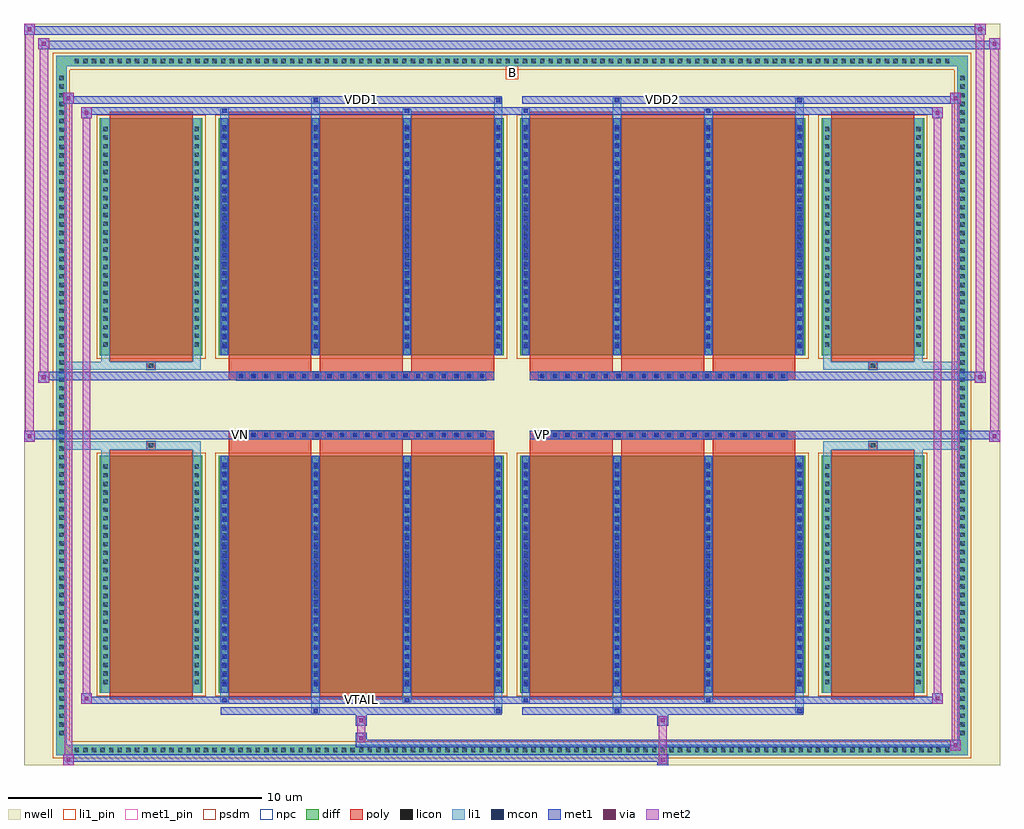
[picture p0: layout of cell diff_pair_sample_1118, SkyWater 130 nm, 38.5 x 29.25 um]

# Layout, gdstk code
import gdstk
lib = gdstk.Library(unit=1e-6, precision=5e-09)
def R(c, l, rs):  # rectangles x0, y0, x1, y1
    for r in rs: c.add(gdstk.rectangle(r[:2], r[2:], *l))
def A(c, l, x, y, w, h, nx, ny, dx, dy):  # array of equal rectangles
    R(c, l, [(x+i*dx, y+j*dy, x+i*dx+w, y+j*dy+h) for i in range(nx) for j in range(ny)])
def P(c, l, *ps):  # polygons
    for p in ps: c.add(gdstk.Polygon(p, *l))
nwell = (64, 20)
diff = (65, 20)
poly = (66, 20)
licon = (66, 44)
li1_pin = (67, 16)
li1 = (67, 20)
mcon = (67, 44)
met1_pin = (68, 16)
met1 = (68, 20)
via = (68, 44)
met2 = (69, 20)
psdm = (94, 20)
npc = (95, 20)

diff_pair_sample_1118 = lib.new_cell('diff_pair_sample_1118')
R(diff_pair_sample_1118, nwell, [(-19.25,-14.19,19.25,15.06), (-16.57,-12.38,-0.01,-0.8), (0.01,-12.38,16.57,-0.8), (-16.57,0.8,-0.01,12.38), (0.01,0.8,16.57,12.38)])
A(diff_pair_sample_1118, diff, -17.375, -13.79, 0.41, 0.41, 102, 2, 0.34, 27.17)
A(diff_pair_sample_1118, diff, -17.98, -13.125, 0.41, 0.41, 1, 77, 0, 0.34)
A(diff_pair_sample_1118, diff, 17.57, -13.125, 0.41, 0.41, 1, 77, 0, 0.34)
R(diff_pair_sample_1118, diff, [(-17.375,-13.79,17.375,-13.38), (-17.98,-13.125,-17.57,13.125), (17.57,-13.125,17.98,13.125), (-16.26,-11.335,-12.21,-1.985), (-11.57,-11.335,-0.32,-1.985), (0.32,-11.335,11.57,-1.985), (12.21,-11.335,16.26,-1.985), (-16.26,1.985,-12.21,11.335), (-11.57,1.985,-0.32,11.335), (0.32,1.985,11.57,11.335), (12.21,1.985,16.26,11.335), (-17.375,13.38,17.375,13.79)])
P(diff_pair_sample_1118, diff, [(17.98,13.79),(-17.98,13.79),(-17.98,-13.38),(-17.57,-13.38),(-17.57,13.38),(17.57,13.38),(17.57,-13.38),(-17.57,-13.38),(-17.98,-13.38),(-17.98,-13.79),(17.98,-13.79)])
A(diff_pair_sample_1118, poly, -11.18, -11.585, 3.27, 9.85, 3, 2, 3.6, 13.32)
A(diff_pair_sample_1118, poly, 0.71, -11.585, 3.27, 9.85, 3, 2, 3.6, 13.32)
A(diff_pair_sample_1118, poly, -11.18, -1.735, 3.27, 0.405, 3, 2, 3.6, 3.065)
A(diff_pair_sample_1118, poly, 0.71, -1.735, 3.27, 0.405, 3, 2, 3.6, 3.065)
A(diff_pair_sample_1118, poly, -10.86, -1.33, 0.33, 0.33, 20, 2, 0.5, 2.33)
A(diff_pair_sample_1118, poly, 1.03, -1.33, 0.33, 0.33, 20, 2, 0.5, 2.33)
R(diff_pair_sample_1118, poly, [(-15.87,-11.585,-12.6,-1.735), (12.6,-11.585,15.87,-1.735), (-14.4,-1.735,-14.07,-1.405), (-14.4,-1.735,-14.07,-1.405), (14.07,-1.735,14.4,-1.405), (14.07,-1.735,14.4,-1.405), (-11.18,-1.33,-0.71,-1), (0.71,-1.33,11.18,-1), (-11.18,1,-0.71,1.33), (0.71,1,11.18,1.33), (-14.4,1.405,-14.07,1.735), (-14.4,1.405,-14.07,1.735), (14.07,1.405,14.4,1.735), (14.07,1.405,14.4,1.735), (-15.87,1.735,-12.6,11.585), (12.6,1.735,15.87,11.585)])
A(diff_pair_sample_1118, licon, -17.255, -13.67, 0.17, 0.17, 102, 2, 0.34, 27.17)
A(diff_pair_sample_1118, licon, -17.86, -13.005, 0.17, 0.17, 1, 77, 0, 0.34)
A(diff_pair_sample_1118, licon, 17.69, -13.005, 0.17, 0.17, 1, 77, 0, 0.34)
A(diff_pair_sample_1118, licon, -16.12, -10.995, 0.17, 0.17, 1, 26, 0, 0.34)
A(diff_pair_sample_1118, licon, -12.52, -10.995, 0.17, 0.17, 1, 26, 0, 0.34)
A(diff_pair_sample_1118, licon, -11.43, -10.995, 0.17, 0.17, 4, 26, 3.6, 0.34)
A(diff_pair_sample_1118, licon, 0.46, -10.995, 0.17, 0.17, 4, 26, 3.6, 0.34)
A(diff_pair_sample_1118, licon, 12.35, -10.995, 0.17, 0.17, 1, 26, 0, 0.34)
A(diff_pair_sample_1118, licon, 15.95, -10.995, 0.17, 0.17, 1, 26, 0, 0.34)
A(diff_pair_sample_1118, licon, -10.78, -1.25, 0.17, 0.17, 20, 2, 0.5, 2.33)
A(diff_pair_sample_1118, licon, 1.11, -1.25, 0.17, 0.17, 20, 2, 0.5, 2.33)
A(diff_pair_sample_1118, licon, -16.12, 2.325, 0.17, 0.17, 1, 26, 0, 0.34)
A(diff_pair_sample_1118, licon, -12.52, 2.325, 0.17, 0.17, 1, 26, 0, 0.34)
A(diff_pair_sample_1118, licon, -11.43, 2.325, 0.17, 0.17, 4, 26, 3.6, 0.34)
A(diff_pair_sample_1118, licon, 0.46, 2.325, 0.17, 0.17, 4, 26, 3.6, 0.34)
A(diff_pair_sample_1118, licon, 12.35, 2.325, 0.17, 0.17, 1, 26, 0, 0.34)
A(diff_pair_sample_1118, licon, 15.95, 2.325, 0.17, 0.17, 1, 26, 0, 0.34)
R(diff_pair_sample_1118, licon, [(-14.32,-1.655,-14.15,-1.485), (14.15,-1.655,14.32,-1.485), (-14.32,1.485,-14.15,1.655), (14.15,1.485,14.32,1.655)])
R(diff_pair_sample_1118, li1_pin, [(-0.25,12.88,0.25,13.38)])
A(diff_pair_sample_1118, li1, -17.335, -13.75, 0.33, 0.33, 102, 2, 0.34, 27.17)
A(diff_pair_sample_1118, li1, -17.94, -13.085, 0.33, 0.33, 1, 77, 0, 0.34)
A(diff_pair_sample_1118, li1, 17.61, -13.085, 0.33, 0.33, 1, 77, 0, 0.34)
A(diff_pair_sample_1118, li1, -11.51, -11.335, 0.33, 9.35, 4, 2, 3.6, 13.32)
A(diff_pair_sample_1118, li1, 0.38, -11.335, 0.33, 9.35, 4, 2, 3.6, 13.32)
A(diff_pair_sample_1118, li1, -16.2, -11.075, 0.33, 0.33, 1, 26, 0, 0.34)
A(diff_pair_sample_1118, li1, -12.6, -11.075, 0.33, 0.33, 1, 26, 0, 0.34)
A(diff_pair_sample_1118, li1, -11.51, -11.075, 0.33, 0.33, 4, 26, 3.6, 0.34)
A(diff_pair_sample_1118, li1, 0.38, -11.075, 0.33, 0.33, 4, 26, 3.6, 0.34)
A(diff_pair_sample_1118, li1, 12.27, -11.075, 0.33, 0.33, 1, 26, 0, 0.34)
A(diff_pair_sample_1118, li1, 15.87, -11.075, 0.33, 0.33, 1, 26, 0, 0.34)
A(diff_pair_sample_1118, li1, -11.43, -11.065, 0.17, 0.17, 4, 25, 3.6, 0.36)
A(diff_pair_sample_1118, li1, -11.43, -11.065, 0.17, 8.81, 4, 2, 3.6, 13.32)
A(diff_pair_sample_1118, li1, 0.46, -11.065, 0.17, 0.17, 4, 25, 3.6, 0.36)
A(diff_pair_sample_1118, li1, 0.46, -11.065, 0.17, 8.81, 4, 2, 3.6, 13.32)
A(diff_pair_sample_1118, li1, -10.86, -1.33, 0.33, 0.33, 20, 2, 0.5, 2.33)
A(diff_pair_sample_1118, li1, 1.03, -1.33, 0.33, 0.33, 20, 2, 0.5, 2.33)
A(diff_pair_sample_1118, li1, -16.2, 2.245, 0.33, 0.33, 1, 26, 0, 0.34)
A(diff_pair_sample_1118, li1, -12.6, 2.245, 0.33, 0.33, 1, 26, 0, 0.34)
A(diff_pair_sample_1118, li1, -11.51, 2.245, 0.33, 0.33, 4, 26, 3.6, 0.34)
A(diff_pair_sample_1118, li1, 0.38, 2.245, 0.33, 0.33, 4, 26, 3.6, 0.34)
A(diff_pair_sample_1118, li1, 12.27, 2.245, 0.33, 0.33, 1, 26, 0, 0.34)
A(diff_pair_sample_1118, li1, 15.87, 2.245, 0.33, 0.33, 1, 26, 0, 0.34)
A(diff_pair_sample_1118, li1, -11.43, 2.255, 0.17, 0.17, 4, 25, 3.6, 0.36)
A(diff_pair_sample_1118, li1, 0.46, 2.255, 0.17, 0.17, 4, 25, 3.6, 0.36)
R(diff_pair_sample_1118, li1, [(-17.98,-13.79,-17.57,-13.38), (-17.98,-13.79,-17.57,-13.38), (-17.57,-13.79,17.57,-13.38), (17.57,-13.79,17.98,-13.38), (17.57,-13.79,17.98,-13.38), (-17.98,-13.38,-17.57,13.38), (17.57,-13.38,17.98,13.38), (-7.91,-12.14,-7.58,-11.335), (-7.83,-12.14,-7.66,-11.97), (-0.71,-12.14,-0.38,-11.335), (-0.63,-12.14,-0.46,-11.97), (3.98,-12.14,4.31,-11.335), (4.06,-12.14,4.23,-11.97), (11.18,-12.14,11.51,-11.335), (11.26,-12.14,11.43,-11.97), (-11.51,-11.71,-11.18,-11.335), (-11.43,-11.71,-11.26,-11.54), (-4.31,-11.71,-3.98,-11.335), (-4.23,-11.71,-4.06,-11.54), (0.38,-11.71,0.71,-11.335), (0.46,-11.71,0.63,-11.54), (7.58,-11.71,7.91,-11.335), (7.66,-11.71,7.83,-11.54), (-16.2,-11.335,-15.87,-1.985), (-12.6,-11.335,-12.27,-1.985), (12.27,-11.335,12.6,-1.985), (15.87,-11.335,16.2,-1.985), (-16.2,-1.985,-15.87,-1.405), (-12.6,-1.985,-12.27,-1.405), (12.27,-1.985,12.6,-1.405), (15.87,-1.985,16.2,-1.405), (-17.98,-1.735,-14.4,-1.405), (-16.2,-1.735,-14.4,-1.405), (-14.4,-1.735,-14.07,-1.405), (-14.07,-1.735,-12.27,-1.405), (12.27,-1.735,14.07,-1.405), (14.07,-1.735,14.4,-1.405), (14.07,-1.735,17.98,-1.405), (14.4,-1.735,16.2,-1.405), (-17.98,1.405,-14.4,1.735), (-16.2,1.405,-14.4,1.735), (-16.2,1.405,-15.87,1.985), (-14.4,1.405,-14.07,1.735), (-14.07,1.405,-12.27,1.735), (-12.6,1.405,-12.27,1.985), (12.27,1.405,14.07,1.735), (12.27,1.405,12.6,1.985), (14.07,1.405,14.4,1.735), (14.07,1.405,17.98,1.735), (14.4,1.405,16.2,1.735), (15.87,1.405,16.2,1.985), (-16.2,1.985,-15.87,11.335), (-12.6,1.985,-12.27,11.335), (12.27,1.985,12.6,11.335), (15.87,1.985,16.2,11.335), (-11.51,11.335,-11.18,11.71), (-7.91,11.335,-7.58,12.14), (-4.31,11.335,-3.98,11.71), (-0.71,11.335,-0.38,12.14), (0.38,11.335,0.71,11.71), (3.98,11.335,4.31,12.14), (7.58,11.335,7.91,11.71), (11.18,11.335,11.51,12.14), (-11.43,11.54,-11.26,11.71), (-4.23,11.54,-4.06,11.71), (0.46,11.54,0.63,11.71), (7.66,11.54,7.83,11.71), (-7.83,11.97,-7.66,12.14), (-0.63,11.97,-0.46,12.14), (4.06,11.97,4.23,12.14), (11.26,11.97,11.43,12.14), (-17.98,13.38,-17.57,13.79), (-17.98,13.38,-17.57,13.79), (-17.57,13.38,17.57,13.79), (17.57,13.38,17.98,13.79), (17.57,13.38,17.98,13.79)])
A(diff_pair_sample_1118, mcon, -11.43, -11.065, 0.17, 0.17, 4, 25, 3.6, 0.36)
A(diff_pair_sample_1118, mcon, 0.46, -11.065, 0.17, 0.17, 4, 25, 3.6, 0.36)
A(diff_pair_sample_1118, mcon, -10.78, -1.25, 0.17, 0.17, 20, 2, 0.5, 2.33)
A(diff_pair_sample_1118, mcon, 1.11, -1.25, 0.17, 0.17, 20, 2, 0.5, 2.33)
A(diff_pair_sample_1118, mcon, -11.43, 2.255, 0.17, 0.17, 4, 25, 3.6, 0.36)
A(diff_pair_sample_1118, mcon, 0.46, 2.255, 0.17, 0.17, 4, 25, 3.6, 0.36)
R(diff_pair_sample_1118, mcon, [(-7.83,-12.14,-7.66,-11.97), (-0.63,-12.14,-0.46,-11.97), (4.06,-12.14,4.23,-11.97), (11.26,-12.14,11.43,-11.97), (-11.43,-11.71,-11.26,-11.54), (-4.23,-11.71,-4.06,-11.54), (0.46,-11.71,0.63,-11.54), (7.66,-11.71,7.83,-11.54), (-11.43,11.54,-11.26,11.71), (-4.23,11.54,-4.06,11.71), (0.46,11.54,0.63,11.71), (7.66,11.54,7.83,11.71), (-7.83,11.97,-7.66,12.14), (-0.63,11.97,-0.46,12.14), (4.06,11.97,4.23,12.14), (11.26,11.97,11.43,12.14)])
R(diff_pair_sample_1118, met1_pin, [(-6.08,-11.75,-5.81,-11.48), (-10.83,-1.29,-10.56,-1.02), (1.06,-1.29,1.33,-1.02), (-6.08,11.93,-5.81,12.2), (5.81,11.93,6.08,12.2)])
A(diff_pair_sample_1118, met1, -11.49, -11.335, 0.29, 9.35, 4, 2, 3.6, 13.32)
A(diff_pair_sample_1118, met1, 0.4, -11.335, 0.29, 9.35, 4, 2, 3.6, 13.32)
A(diff_pair_sample_1118, met1, -11.49, -11.125, 0.29, 0.29, 4, 25, 3.6, 0.36)
A(diff_pair_sample_1118, met1, 0.4, -11.125, 0.29, 0.29, 4, 25, 3.6, 0.36)
A(diff_pair_sample_1118, met1, -10.84, -1.31, 0.29, 0.29, 20, 2, 0.5, 2.33)
A(diff_pair_sample_1118, met1, 1.05, -1.31, 0.29, 0.29, 20, 2, 0.5, 2.33)
A(diff_pair_sample_1118, met1, -11.49, 2.195, 0.29, 0.29, 4, 25, 3.6, 0.36)
A(diff_pair_sample_1118, met1, 0.4, 2.195, 0.29, 0.29, 4, 25, 3.6, 0.36)
R(diff_pair_sample_1118, met1, [(-17.71,-14.19,-17.28,-13.76), (5.73,-14.19,6.16,-13.76), (-17.71,-14.05,6.16,-13.76), (17.28,-13.62,17.71,-13.19), (-6.16,-13.48,17.71,-13.19), (-6.16,-13.34,-5.73,-12.91), (-6.16,-12.63,-5.73,-12.2), (5.73,-12.63,6.16,-12.2), (-11.49,-12.2,-0.4,-11.91), (-7.89,-12.2,-7.6,-11.91), (-0.69,-12.2,-0.4,-11.91), (0.4,-12.2,11.49,-11.91), (4,-12.2,4.29,-11.91), (11.2,-12.2,11.49,-11.91), (-17,-11.77,-16.57,-11.34), (-17,-11.77,-11.49,-11.48), (-11.49,-11.77,-11.2,-11.48), (-11.49,-11.77,-0.4,-11.48), (-4.29,-11.77,-4,-11.48), (-0.4,-11.77,0.4,-11.48), (0.4,-11.77,0.69,-11.48), (0.4,-11.77,11.49,-11.48), (7.6,-11.77,7.89,-11.48), (11.49,-11.77,17,-11.48), (16.57,-11.77,17,-11.34), (-19.25,-1.43,-18.82,-1), (18.82,-1.43,19.25,-1), (-19.25,-1.33,-0.71,-1), (-11.18,-1.33,-0.71,-1), (0.71,-1.33,11.18,-1), (0.71,-1.33,19.25,-1), (-18.68,0.9,-18.25,1.33), (18.25,0.9,18.68,1.33), (-18.68,1,-11.18,1.33), (-11.18,1,-0.71,1.33), (0.71,1,11.18,1.33), (11.18,1,18.68,1.33), (-17,11.34,-16.57,11.77), (16.57,11.34,17,11.77), (-17,11.48,-11.49,11.77), (-11.49,11.48,-11.2,11.77), (-11.49,11.48,-0.4,11.77), (-4.29,11.48,-4,11.77), (-0.4,11.48,0.4,11.77), (0.4,11.48,0.69,11.77), (0.4,11.48,11.49,11.77), (7.6,11.48,7.89,11.77), (11.49,11.48,17,11.77), (-17.71,11.91,-17.28,12.34), (-17.71,11.91,-11.49,12.2), (-11.49,11.91,-0.4,12.2), (-7.89,11.91,-7.6,12.2), (-0.69,11.91,-0.4,12.2), (0.4,11.91,11.49,12.2), (4,11.91,4.29,12.2), (11.2,11.91,11.49,12.2), (11.49,11.91,17.71,12.2), (17.28,11.91,17.71,12.34), (-18.68,14.06,-18.25,14.49), (-18.68,14.06,-16.57,14.39), (-16.57,14.06,16.57,14.39), (16.57,14.06,19.25,14.39), (18.82,14.06,19.25,14.49), (-19.25,14.63,-18.82,15.06), (-19.25,14.63,-16.57,14.96), (-16.57,14.63,16.57,14.96), (16.57,14.63,18.68,14.96), (18.25,14.63,18.68,15.06)])
R(diff_pair_sample_1118, via, [(-17.57,-14.05,-17.42,-13.9), (5.87,-14.05,6.02,-13.9), (17.42,-13.48,17.57,-13.33), (-6.02,-13.2,-5.87,-13.05), (-6.02,-12.49,-5.87,-12.34), (5.87,-12.49,6.02,-12.34), (-16.86,-11.63,-16.71,-11.48), (16.71,-11.63,16.86,-11.48), (-19.11,-1.29,-18.96,-1.14), (18.96,-1.29,19.11,-1.14), (-18.54,1.04,-18.39,1.19), (18.39,1.04,18.54,1.19), (-16.86,11.48,-16.71,11.63), (16.71,11.48,16.86,11.63), (-17.57,12.05,-17.42,12.2), (17.42,12.05,17.57,12.2), (-18.54,14.2,-18.39,14.35), (18.96,14.2,19.11,14.35), (-19.11,14.77,-18.96,14.92), (18.39,14.77,18.54,14.92)])
R(diff_pair_sample_1118, met2, [(-17.71,-14.19,-17.28,-13.76), (-17.64,-14.19,-17.35,12.34), (-17.35,-14.19,-17.28,-13.76), (-17.66,-14.14,-17.33,-13.81), (5.78,-14.14,6.11,-13.81), (5.78,-13.81,6.11,-12.58), (17.28,-13.62,17.71,-13.19), (17.35,-13.62,17.64,12.34), (17.64,-13.62,17.71,-13.19), (17.33,-13.57,17.66,-13.24), (-6.11,-13.29,-5.78,-12.96), (-6.11,-12.96,-5.78,-12.58), (-6.11,-12.58,-5.78,-12.25), (5.78,-12.58,6.11,-12.25), (-17,-11.77,-16.57,-11.34), (-16.93,-11.77,-16.64,11.77), (-16.64,-11.77,-16.57,-11.34), (16.57,-11.77,17,-11.34), (16.64,-11.77,16.93,11.77), (16.93,-11.77,17,-11.34), (-16.95,-11.72,-16.62,-11.39), (16.62,-11.72,16.95,-11.39), (-19.25,-1.43,-18.82,-1), (-19.2,-1.43,-18.87,15.06), (-18.87,-1.43,-18.82,-1), (18.82,-1.43,19.25,-1), (18.87,-1.43,19.2,14.49), (19.2,-1.43,19.25,-1), (-19.2,-1.38,-18.87,-1.05), (18.87,-1.38,19.2,-1.05), (-18.68,0.9,-18.25,1.33), (-18.63,0.9,-18.3,14.49), (-18.3,0.9,-18.25,1.33), (18.25,0.9,18.68,1.33), (18.3,0.9,18.63,15.06), (18.63,0.9,18.68,1.33), (-18.63,0.95,-18.3,1.28), (18.3,0.95,18.63,1.28), (-17,11.34,-16.57,11.77), (-16.64,11.34,-16.57,11.77), (16.57,11.34,17,11.77), (16.93,11.34,17,11.77), (-16.95,11.39,-16.62,11.72), (16.62,11.39,16.95,11.72), (-17.71,11.91,-17.28,12.34), (-17.35,11.91,-17.28,12.34), (17.28,11.91,17.71,12.34), (17.64,11.91,17.71,12.34), (-17.66,11.96,-17.33,12.29), (17.33,11.96,17.66,12.29), (-18.68,14.06,-18.25,14.49), (-18.3,14.06,-18.25,14.49), (18.82,14.06,19.25,14.49), (19.2,14.06,19.25,14.49), (-18.63,14.11,-18.3,14.44), (18.87,14.11,19.2,14.44), (-19.25,14.63,-18.82,15.06), (-18.87,14.63,-18.82,15.06), (18.25,14.63,18.68,15.06), (18.63,14.63,18.68,15.06), (-19.2,14.68,-18.87,15.01), (18.3,14.68,18.63,15.01)])
R(diff_pair_sample_1118, psdm, [(-16.39,-11.465,-12.08,-1.855), (-11.7,-11.465,-0.19,-1.855), (0.19,-11.465,11.7,-1.855), (12.08,-11.465,16.39,-1.855), (-16.39,1.855,-12.08,11.465), (-11.7,1.855,-0.19,11.465), (0.19,1.855,11.7,11.465), (12.08,1.855,16.39,11.465)])
P(diff_pair_sample_1118, psdm, [(18.11,13.92),(-18.11,13.92),(-18.11,-13.25),(-17.44,-13.25),(-17.44,13.25),(17.44,13.25),(17.44,-13.25),(-17.44,-13.25),(-18.11,-13.25),(-18.11,-13.92),(18.11,-13.92)])
A(diff_pair_sample_1118, npc, -10.88, -1.35, 0.37, 0.37, 20, 2, 0.5, 2.33)
A(diff_pair_sample_1118, npc, 1.01, -1.35, 0.37, 0.37, 20, 2, 0.5, 2.33)
R(diff_pair_sample_1118, npc, [(-14.42,-1.755,-14.05,-1.385), (14.05,-1.755,14.42,-1.385), (-10.88,-1.35,-10.01,-0.98), (-10.88,-1.35,-10.01,-0.98), (-10.38,-1.35,-9.51,-0.98), (-10.38,-1.35,-9.51,-0.98), (-9.88,-1.35,-9.01,-0.98), (-9.88,-1.35,-9.01,-0.98), (-9.38,-1.35,-8.51,-0.98), (-9.38,-1.35,-8.51,-0.98), (-8.88,-1.35,-8.01,-0.98), (-8.88,-1.35,-8.01,-0.98), (-8.38,-1.35,-7.51,-0.98), (-8.38,-1.35,-7.51,-0.98), (-7.88,-1.35,-7.01,-0.98), (-7.88,-1.35,-7.01,-0.98), (-7.38,-1.35,-6.51,-0.98), (-7.38,-1.35,-6.51,-0.98), (-6.88,-1.35,-6.01,-0.98), (-6.88,-1.35,-6.01,-0.98), (-6.38,-1.35,-5.51,-0.98), (-6.38,-1.35,-5.51,-0.98), (-5.88,-1.35,-5.01,-0.98), (-5.88,-1.35,-5.01,-0.98), (-5.38,-1.35,-4.51,-0.98), (-5.38,-1.35,-4.51,-0.98), (-4.88,-1.35,-4.01,-0.98), (-4.88,-1.35,-4.01,-0.98), (-4.38,-1.35,-3.51,-0.98), (-4.38,-1.35,-3.51,-0.98), (-3.88,-1.35,-3.01,-0.98), (-3.88,-1.35,-3.01,-0.98), (-3.38,-1.35,-2.51,-0.98), (-3.38,-1.35,-2.51,-0.98), (-2.88,-1.35,-2.01,-0.98), (-2.88,-1.35,-2.01,-0.98), (-2.38,-1.35,-1.51,-0.98), (-2.38,-1.35,-1.51,-0.98), (-1.88,-1.35,-1.01,-0.98), (-1.88,-1.35,-1.01,-0.98), (1.01,-1.35,1.88,-0.98), (1.01,-1.35,1.88,-0.98), (1.51,-1.35,2.38,-0.98), (1.51,-1.35,2.38,-0.98), (2.01,-1.35,2.88,-0.98), (2.01,-1.35,2.88,-0.98), (2.51,-1.35,3.38,-0.98), (2.51,-1.35,3.38,-0.98), (3.01,-1.35,3.88,-0.98), (3.01,-1.35,3.88,-0.98), (3.51,-1.35,4.38,-0.98), (3.51,-1.35,4.38,-0.98), (4.01,-1.35,4.88,-0.98), (4.01,-1.35,4.88,-0.98), (4.51,-1.35,5.38,-0.98), (4.51,-1.35,5.38,-0.98), (5.01,-1.35,5.88,-0.98), (5.01,-1.35,5.88,-0.98), (5.51,-1.35,6.38,-0.98), (5.51,-1.35,6.38,-0.98), (6.01,-1.35,6.88,-0.98), (6.01,-1.35,6.88,-0.98), (6.51,-1.35,7.38,-0.98), (6.51,-1.35,7.38,-0.98), (7.01,-1.35,7.88,-0.98), (7.01,-1.35,7.88,-0.98), (7.51,-1.35,8.38,-0.98), (7.51,-1.35,8.38,-0.98), (8.01,-1.35,8.88,-0.98), (8.01,-1.35,8.88,-0.98), (8.51,-1.35,9.38,-0.98), (8.51,-1.35,9.38,-0.98), (9.01,-1.35,9.88,-0.98), (9.01,-1.35,9.88,-0.98), (9.51,-1.35,10.38,-0.98), (9.51,-1.35,10.38,-0.98), (10.01,-1.35,10.88,-0.98), (10.01,-1.35,10.88,-0.98), (-10.88,0.98,-10.01,1.35), (-10.88,0.98,-10.01,1.35), (-10.38,0.98,-9.51,1.35), (-10.38,0.98,-9.51,1.35), (-9.88,0.98,-9.01,1.35), (-9.88,0.98,-9.01,1.35), (-9.38,0.98,-8.51,1.35), (-9.38,0.98,-8.51,1.35), (-8.88,0.98,-8.01,1.35), (-8.88,0.98,-8.01,1.35), (-8.38,0.98,-7.51,1.35), (-8.38,0.98,-7.51,1.35), (-7.88,0.98,-7.01,1.35), (-7.88,0.98,-7.01,1.35), (-7.38,0.98,-6.51,1.35), (-7.38,0.98,-6.51,1.35), (-6.88,0.98,-6.01,1.35), (-6.88,0.98,-6.01,1.35), (-6.38,0.98,-5.51,1.35), (-6.38,0.98,-5.51,1.35), (-5.88,0.98,-5.01,1.35), (-5.88,0.98,-5.01,1.35), (-5.38,0.98,-4.51,1.35), (-5.38,0.98,-4.51,1.35), (-4.88,0.98,-4.01,1.35), (-4.88,0.98,-4.01,1.35), (-4.38,0.98,-3.51,1.35), (-4.38,0.98,-3.51,1.35), (-3.88,0.98,-3.01,1.35), (-3.88,0.98,-3.01,1.35), (-3.38,0.98,-2.51,1.35), (-3.38,0.98,-2.51,1.35), (-2.88,0.98,-2.01,1.35), (-2.88,0.98,-2.01,1.35), (-2.38,0.98,-1.51,1.35), (-2.38,0.98,-1.51,1.35), (-1.88,0.98,-1.01,1.35), (-1.88,0.98,-1.01,1.35), (1.01,0.98,1.88,1.35), (1.01,0.98,1.88,1.35), (1.51,0.98,2.38,1.35), (1.51,0.98,2.38,1.35), (2.01,0.98,2.88,1.35), (2.01,0.98,2.88,1.35), (2.51,0.98,3.38,1.35), (2.51,0.98,3.38,1.35), (3.01,0.98,3.88,1.35), (3.01,0.98,3.88,1.35), (3.51,0.98,4.38,1.35), (3.51,0.98,4.38,1.35), (4.01,0.98,4.88,1.35), (4.01,0.98,4.88,1.35), (4.51,0.98,5.38,1.35), (4.51,0.98,5.38,1.35), (5.01,0.98,5.88,1.35), (5.01,0.98,5.88,1.35), (5.51,0.98,6.38,1.35), (5.51,0.98,6.38,1.35), (6.01,0.98,6.88,1.35), (6.01,0.98,6.88,1.35), (6.51,0.98,7.38,1.35), (6.51,0.98,7.38,1.35), (7.01,0.98,7.88,1.35), (7.01,0.98,7.88,1.35), (7.51,0.98,8.38,1.35), (7.51,0.98,8.38,1.35), (8.01,0.98,8.88,1.35), (8.01,0.98,8.88,1.35), (8.51,0.98,9.38,1.35), (8.51,0.98,9.38,1.35), (9.01,0.98,9.88,1.35), (9.01,0.98,9.88,1.35), (9.51,0.98,10.38,1.35), (9.51,0.98,10.38,1.35), (10.01,0.98,10.88,1.35), (10.01,0.98,10.88,1.35), (-14.42,1.385,-14.05,1.755), (14.05,1.385,14.42,1.755)])
diff_pair_sample_1118.add(gdstk.Label('VTAIL', (-5.945,-11.615), layer=68, texttype=5))
diff_pair_sample_1118.add(gdstk.Label('VN', (-10.695,-1.155), layer=68, texttype=5))
diff_pair_sample_1118.add(gdstk.Label('VP', (1.195,-1.155), layer=68, texttype=5))
diff_pair_sample_1118.add(gdstk.Label('B', (0,13.13), layer=67, texttype=5))
diff_pair_sample_1118.add(gdstk.Label('VDD2', (5.945,12.065), layer=68, texttype=5))
diff_pair_sample_1118.add(gdstk.Label('VDD1', (-5.945,12.065), layer=68, texttype=5))

lib.write_gds('diff_pair_sample_1118.gds')
